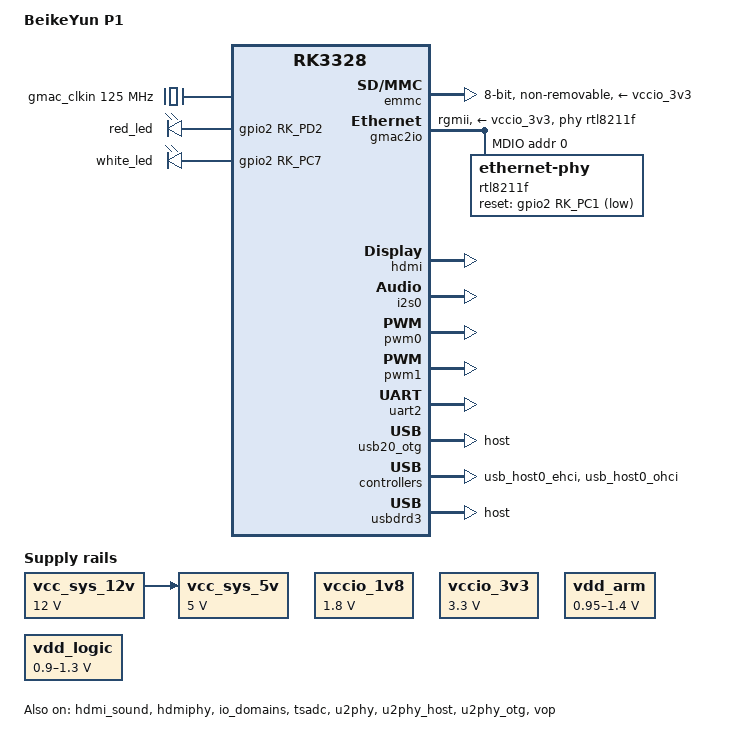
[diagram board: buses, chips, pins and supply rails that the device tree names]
// SPDX-License-Identifier: (GPL-2.0+ OR MIT)
// Copyright (C) 2026 unifreq
// Copyright (C) 2026 Jun Yan <jerrysteve1101@gmail.com>

/dts-v1/;
#include "rk3328.dtsi"

/ {
	model = "BeikeYun P1";
	compatible = "meibeike,beikeyun-p1", "rockchip,rk3328";

	aliases {
		mmc0 = &emmc;
		mmc1 = &sdmmc;
		mmc2 = &sdio;
	};

	chosen {
		stdout-path = "serial2:1500000n8";
	};

	gmac_clkin: external-gmac-clock {
		compatible = "fixed-clock";
		clock-frequency = <125000000>;
		clock-output-names = "gmac_clkin";
		#clock-cells = <0>;
	};

	leds {
		compatible = "gpio-leds";

		red-led {
			label = "red_led";
			gpios = <&gpio2 RK_PD2 GPIO_ACTIVE_HIGH>;
			linux,default-trigger = "mmc0";
			default-state = "on";
		};

		white-led {
			label = "white_led";
			gpios = <&gpio2 RK_PC7 GPIO_ACTIVE_HIGH>;
			default-state = "on";
		};
	};

	vcc_sys_12v: vcc-sys-12v {
		compatible = "regulator-fixed";
		regulator-name = "vcc_sys_12v";
		regulator-min-microvolt = <12000000>;
		regulator-max-microvolt = <12000000>;
		regulator-always-on;
		regulator-boot-on;
	};

	vcc_sys_5v: vcc-sys-5v {
		compatible = "regulator-fixed";
		regulator-name = "vcc_sys_5v";
		regulator-min-microvolt = <5000000>;
		regulator-max-microvolt = <5000000>;
		vin-supply = <&vcc_sys_12v>;
		regulator-always-on;
		regulator-boot-on;
	};

	vccio_1v8: vccio-1v8 {
		compatible = "regulator-fixed";
		regulator-name = "vccio_1v8";
		regulator-min-microvolt = <1800000>;
		regulator-max-microvolt = <1800000>;
		regulator-always-on;
	};

	vccio_3v3: vccio-3v3 {
		compatible = "regulator-fixed";
		regulator-name = "vccio_3v3";
		regulator-min-microvolt = <3300000>;
		regulator-max-microvolt = <3300000>;
		regulator-always-on;
	};

	vdd_arm: vdd-arm {
		compatible = "pwm-regulator";
		pwms = <&pwm0 0 5000 1>;
		regulator-name = "vcc_arm";
		regulator-min-microvolt = <950000>;
		regulator-max-microvolt = <1400000>;
		regulator-settling-time-up-us = <250>;
		regulator-ramp-delay = <12500>;
		regulator-always-on;
		regulator-boot-on;
	};

	vdd_logic: vdd-logic {
		compatible = "pwm-regulator";
		pwms = <&pwm1 0 5000 1>;
		regulator-name = "vcc_log";
		regulator-min-microvolt = <900000>;
		regulator-max-microvolt = <1300000>;
		regulator-settling-time-up-us = <250>;
		regulator-ramp-delay = <12500>;
		regulator-always-on;
		regulator-boot-on;
	};
};

&cpu0 {
	cpu-supply = <&vdd_arm>;
};

&cpu1 {
	cpu-supply = <&vdd_arm>;
};

&cpu2 {
	cpu-supply = <&vdd_arm>;
};

&cpu3 {
	cpu-supply = <&vdd_arm>;
};

&emmc {
	bus-width = <8>;
	max-frequency = <150000000>;
	cap-mmc-highspeed;
	mmc-hs200-1_8v;
	non-removable;
	pinctrl-names = "default";
	pinctrl-0 = <&emmc_clk>, <&emmc_cmd>, <&emmc_bus8>;
	vmmc-supply = <&vccio_3v3>;
	vqmmc-supply = <&vccio_1v8>;
	status = "okay";
};

&gmac2io {
	assigned-clocks = <&cru SCLK_MAC2IO>, <&cru SCLK_MAC2IO_EXT>;
	assigned-clock-parents = <&gmac_clkin>, <&gmac_clkin>;
	clock_in_out = "input";
	phy-handle = <&rtl8211f>;
	phy-supply = <&vccio_3v3>;
	/* The TX and RX delays are applied by the MAC, see tx_delay/rx_delay. */
	phy-mode = "rgmii";
	pinctrl-names = "default";
	pinctrl-0 = <&rgmiim1_pins>;
	snps,aal;
	snps,pbl = <0x4>;
	tx_delay = <0x26>;
	rx_delay = <0x11>;
	status = "okay";

	mdio {
		compatible = "snps,dwmac-mdio";
		#address-cells = <1>;
		#size-cells = <0>;

		rtl8211f: ethernet-phy@0 {
			reg = <0>;
			reset-assert-us = <30000>;
			reset-deassert-us = <50000>;
			reset-gpios = <&gpio2 RK_PC1 GPIO_ACTIVE_LOW>;
		};
	};
};

&gpu {
	mali-supply = <&vdd_logic>;
};

&hdmi {
	status = "okay";
};

&hdmi_sound {
	status = "okay";
};

&hdmiphy {
	status = "okay";
};

&i2s0 {
	status = "okay";
};

&io_domains {
	vccio1-supply = <&vccio_3v3>;
	vccio2-supply = <&vccio_1v8>;
	vccio3-supply = <&vccio_3v3>;
	vccio4-supply = <&vccio_1v8>;
	vccio5-supply = <&vccio_3v3>;
	vccio6-supply = <&vccio_3v3>;
	pmuio-supply = <&vccio_3v3>;
	status = "okay";
};

&pwm0 {
	status = "okay";
};

&pwm1 {
	status = "okay";
};

&tsadc {
	rockchip,hw-tshut-mode = <0>;
	rockchip,hw-tshut-polarity = <0>;
	status = "okay";
};

&uart2 {
	status = "okay";
};

&u2phy {
	status = "okay";
};

&u2phy_host {
	status = "okay";
};

&u2phy_otg {
	status = "okay";
};

&usb20_otg {
	dr_mode = "host";
	status = "okay";
};

&usb_host0_ehci {
	status = "okay";
};

&usb_host0_ohci {
	status = "okay";
};

&usbdrd3 {
	dr_mode = "host";
	status = "okay";
};

&vop {
	status = "okay";
};

&vop_mmu {
	status = "okay";
};
